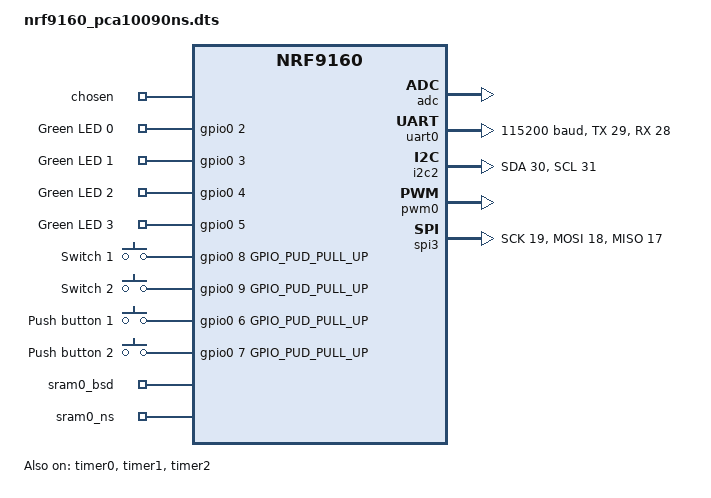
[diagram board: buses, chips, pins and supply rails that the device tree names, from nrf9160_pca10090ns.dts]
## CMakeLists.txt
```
#
# Copyright (c) 2018 Nordic Semiconductor
#
# SPDX-License-Identifier: LicenseRef-BSD-5-Clause-Nordic
#

cmake_minimum_required(VERSION 3.8.2)

include(../../cmake/boilerplate.cmake)

include($ENV{ZEPHYR_BASE}/cmake/app/boilerplate.cmake NO_POLICY_SCOPE)
project(NONE)

# NORDIC SDK APP START
target_sources(app PRIVATE
src/main.c
#src/SD.c
src/SdFat.c
)
# NORDIC SDK APP END
zephyr_include_directories(src)

#include_directories(src/orientation_detector)
target_sources(app PRIVATE src/SD.c)
```

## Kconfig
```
#
# Copyright (c) 2018 Nordic Semiconductor ASA
#
# SPDX-License-Identifier: LicenseRef-BSD-5-Clause-Nordic
#

menu "Application sample"

config CLOUD_BUTTON
	bool "Enable button sensor"
	default y

config CLOUD_BUTTON_INPUT
	int "Enable button sensor"
	range 1 4 if BOARD_NRF9160_PCA10090NS
	range 1 1 if BOARD_NRF9160_PCA20035NS
	default 1

config POWER_OPTIMIZATION_ENABLE
	bool "Enable power optimization"
	default y
	select LTE_EDRX_REQ

config USE_AT_HOST
	bool "Enable AT commands"
	default y
	select AT_HOST_LIBRARY
	help
		Enable the AT host library so that AT commands can be sent to and
		received from a serial terminal.

config GPS_SIM_TRIGGER_TIMER_MSEC
	int
	default 120000 if POWER_OPTIMIZATION_ENABLE
	default 2000

config MQTT_KEEPALIVE
	int
	default 1000 if POWER_OPTIMIZATION_ENABLE
	default 120
choice
	prompt "GPS device"
	default GPS_USE_SIM
	help
		Select from which device GPS data will be fetched.

config GPS_USE_SIM
	bool "Use GPS simulator"
	select GPS_SIM
	select GPS_SIM_TRIGGER
	help
		Use simulated GPS data.

config GPS_USE_EXTERNAL
	bool "User provided GPS device"
	help
		Provide a GPS device that location data will be fetched from and
		sent to nRF Cloud

endchoice

if GPS_USE_SIM

config GPS_DEV_NAME
	string
	default GPS_SIM_DEV_NAME

config GPS_TRIGGER
	bool
	default GPS_SIM_TRIGGER

endif

if GPS_USE_EXTERNAL
config GPS_DEV_NAME
	string "GPS device name"
	help
		GPS device from which location data will be fetched and sent
		to nRF Cloud.

endif

choice
	prompt "Accelerometer device"
	default ACCEL_USE_SIM
	help
		Select which device will provide accelerometer data.

config ACCEL_USE_SIM
	bool "Use simulated accelerometer data"
	select SENSOR
	select SENSOR_SIM
	select SENSOR_SIM_TRIGGER
	select SENSOR_SIM_STATIC_VALUES
	help
		Use sensor simulator to generate accelerometer data for
		flip detection data sent to nRF Cloud.

config ACCEL_USE_EXTERNAL
	bool "User provided accelerometer device"
	help
		The user will provide an accelerometer device that will
		be used for flip detection.

endchoice

if ACCEL_USE_SIM
config ACCEL_DEV_NAME
	string
	default SENSOR_SIM_DEV_NAME

config ACCEL_TRIGGER
	bool
	default SENSOR_SIM_TRIGGER

config FLIP_INPUT
	int "Button or switch number to simulate flip"
	range 1 4 if BOARD_NRF9160_PCA10090NS
	range 1 1 if BOARD_NRF9160_PCA20035NS
	default 3 if BOARD_NRF9160_PCA10090NS
	default 1 if BOARD_NRF9160_PCA20035NS
	help
		Button or switch number to use for simulating
		a board flip event.
		1 - Button 1
		2 - Button 2
		3 - Switch 1
		4 - Switch 2
endif

config FLIP_POLL
	bool "Use polling to detect flip"
	default y if ACCEL_USE_EXTERNAL
	help
		Poll the defined accelerometer device at interval determined by
		FLIP_POLL_INTERVAL. Data will be sent to nRF Cloud if a flip
		has happened and the orientation thus has changed.

if FLIP_POLL
config FLIP_POLL_INTERVAL
	int "Flip detection poll interval"
	default 1000
	help
		Flip polling interval in milliseconds.
endif

if ACCEL_USE_EXTERNAL

config ACCEL_DEV_NAME
	string "Accelerometer device name"
	help
		Device from which accelerometer data will be fetched and used
		for orientation detection and sent to nRF Cloud.

endif

config ACCEL_INVERTED
	bool "Accelerometer inverted"
	default y if BOARD_NRF9160_PCA20035NS
	help
		Enable if the accelerometer is mounted with the top side facing
		down when the board itself is in normal position.

config ACCEL_CALIBRATE
	bool "Calibrate accelerometer"
	default y if BOARD_NRF9160_PCA20035_V0_2_2NS
	help
		Calibrate the accelerometer on a flat surface to filter away
		static measurement offset that could affect orientation
		detection.

if ACCEL_CALIBRATE
config ACCEL_CALIBRATION_ITERATIONS
	int "Number of readings for calibration"
	default 20 if BOARD_NRF9160_PCA20035NS
	help
		Number of measurement readings to average over to find the
		static offset in the readings when calibrating the
		accelerometer.

config CALIBRATION_INPUT
	int "Button to trigger accelerometer calibration"
	range 1 2 if BOARD_NRF9160_PCA10090NS
	range 1 1 if BOARD_NRF9160_PCA20035NS
	default 1 if BOARD_NRF9160_PCA10090NS
	default 1 if BOARD_NRF9160_PCA20035NS
	help
		Button number to use to trigger accelerometer calibration:
		1 - Button 1
		2 - Button 2
endif

if !ACCEL_CALIBRATE
config ACCEL_CALIBRATION_ITERATIONS
	int
	default 0
endif

config ACCEL_ITERATIONS
	int "Number of readings per measurement"
	default 20 if BOARD_NRF9160_PCA20035NS
	default 1
	help
		Number of measurement readings to average over for each time
		the orientation detector determines the orientation of the
		board. Used for simple filtering of noisy measurements.

choice
	prompt "nRF Cloud user association"
	default CLOUD_UA_BUTTONS
	help
		Select which method to use for nRF Cloud user association
		input.

config CLOUD_UA_BUTTONS
	bool "Use buttons and switches"
	help
		Use buttons and switches on the development kit to provide
		user association input.

config CLOUD_UA_CONSOLE
	bool "Use console input"
	help
		Use console to enter nRF Cloud user association input.
		Allowed input is as follows:
		'b1' = Button 1
		'b2' = Button 2
		's1' = Switch 1
		's2' = Switch 2

endchoice


choice
	prompt "Temperature measurement device"
	default TEMP_USE_SIM
	help
		Select which device will provide temperature data.

config TEMP_USE_SIM
	bool "Use simulated temperature data"
	select SENSOR
	select SENSOR_SIM
	help
		Use sensor simulator to generate temperature data to send to
		nRF Cloud.

config TEMP_USE_EXTERNAL
	bool "User provided temperature device"
	help
		The user provides a temperature device that is
		used for temperature measurement.

endchoice

if TEMP_USE_SIM
config TEMP_DEV_NAME
	string
	default SENSOR_SIM_DEV_NAME

config TEMP_TRIGGER
	bool
	default SENSOR_SIM_TRIGGER

config TEMP_SIM_BUTTON
	int "Button or switch to trigger 'data ready' event"
	range 1 4 if BOARD_NRF9160_PCA10090NS
	range 1 1 if BOARD_NRF9160_PCA20035NS
	default 3 if BOARD_NRF9160_PCA10090NS
	default 1 if BOARD_NRF9160_PCA20035NS
	help
		Button or switch number to use for triggering
		a 'data ready' event.
		1 - Button 1
		2 - Button 2
		3 - Switch 1
		4 - Switch 2
endif

if TEMP_USE_EXTERNAL

config TEMP_DEV_NAME
	string "Temperature device name"
	help
		Device from which temperature data will be fetched and
		sent to nRF Cloud.

endif

if MODEM_INFO

config HOLD_TIME_RSRP
	int "Minimum time [s] between RSRP subscription messages"
	default 60
	help
		The minimum time in seconds where the modem
		informer is allowed to submit RSRP data to the cloud.

endif

endmenu

menu "Zephyr Kernel"
source "$ZEPHYR_BASE/Kconfig.zephyr"
endmenu
```

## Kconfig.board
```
# Kconfig - nRF9160 PCA10090 board configuration
#
# Copyright (c) 2018 Nordic Semiconductor ASA
#
# SPDX-License-Identifier: Apache-2.0

if SOC_NRF9160_SICA

config BOARD_NRF9160_PCA10090
	bool "nRF9160 PCA10090"
	depends on !TRUSTED_EXECUTION_NONSECURE

config BOARD_NRF9160_PCA10090NS
	bool "nRF9160 PCA10090 non-secure"
	depends on TRUSTED_EXECUTION_NONSECURE

endif # SOC_NRF9160_SICA
```

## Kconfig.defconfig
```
# Kconfig - nRF91 PCA10090 board configuration
#
# Copyright (c) 2018 Nordic Semiconductor ASA
#
# SPDX-License-Identifier: Apache-2.0

if BOARD_NRF9160_PCA10090 || BOARD_NRF9160_PCA10090NS

config BOARD
	default "nrf9160_pca10090"

if ADC

config ADC_0
	default y

endif # ADC

if I2C

config I2C_2
	default y

endif # I2C

if PWM

config PWM_0
	default y

endif # PWM

if SPI

config SPI_3
	default y

endif # SPI

config GPIO
    bool
    default y
    depends on SPI && SOC_FAMILY_NRF
	
# For the secure version of the board the firmware is linked at the beginning
# of the flash, or into the code-partition defined in DT if it is intended to
# be loaded by MCUboot. If the secure firmware is to be combined with a non-
# secure image (TRUSTED_EXECUTION_SECURE=y), the secure FW image shall always
# be restricted to the size of its code partition.
# For the non-secure version of the board, the firmware
# must be linked into the code-partition (non-secure) defined in DT, regardless.
# Apply this configuration below by setting the Kconfig symbols used by
# the linker according to the information extracted from DT partitions.

if BOARD_NRF9160_PCA10090 && TRUSTED_EXECUTION_SECURE

config FLASH_LOAD_SIZE
	default $(dt_hex_val,DT_CODE_PARTITION_SIZE)

endif # BOARD_NRF9160_PCA10090 && TRUSTED_EXECUTION_SECURE

if BOARD_NRF9160_PCA10090NS

config FLASH_LOAD_OFFSET
	default $(dt_hex_val,DT_CODE_PARTITION_OFFSET)

config FLASH_LOAD_SIZE
	default $(dt_hex_val,DT_CODE_PARTITION_SIZE)

endif # BOARD_NRF9160_PCA10090NS

endif # BOARD_NRF9160_PCA10090 || BOARD_NRF9160_PCA10090NS
```

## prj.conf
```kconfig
# General config
CONFIG_NEWLIB_LIBC=y
CONFIG_TEST_RANDOM_GENERATOR=y
CONFIG_ASSERT=y
CONFIG_REBOOT=y

# Network
CONFIG_NETWORKING=y
CONFIG_NET_SOCKETS=y
CONFIG_NET_SOCKETS_OFFLOAD=y

# MQTT
CONFIG_MQTT_SOCKET_LIB=y
CONFIG_MQTT_LIB_TLS=y
CONFIG_MQTT_MAX_PACKET_LENGTH=2048

# LTE link control
CONFIG_POWER_OPTIMIZATION_ENABLE=n
CONFIG_LTE_LINK_CONTROL=y
CONFIG_LTE_AUTO_INIT_AND_CONNECT=n

# Modem info
CONFIG_MODEM_INFO=y

# BSD library
CONFIG_BSD_LIBRARY=y

# nRF Cloud
CONFIG_NRF_CLOUD=y

# Sensors
CONFIG_GPS_USE_SIM=y
CONFIG_ACCEL_USE_SIM=y

# Library for buttons and LEDs
CONFIG_DK_LIBRARY=y
CONFIG_DK_LIBRARY_INVERT_LEDS=n

# Console
CONFIG_CONSOLE_SUBSYS=y
CONFIG_CONSOLE_HANDLER=y
CONFIG_CONSOLE_GETCHAR=y

# Main thread
CONFIG_MAIN_THREAD_PRIORITY=7

# Heap and stacks
CONFIG_HEAP_MEM_POOL_SIZE=16384
CONFIG_MAIN_STACK_SIZE=8192
CONFIG_GPS_SIM_THREAD_STACK_SIZE=1024
CONFIG_SYSTEM_WORKQUEUE_STACK_SIZE=1500
CONFIG_HW_STACK_PROTECTION=y

CONFIG_SERIAL=y
CONFIG_TRUSTED_EXECUTION_NONSECURE=y
CONFIG_UART_INTERRUPT_DRIVEN=y
CONFIG_UART_0_NRF_UARTE=y

# LTE link control
CONFIG_LTE_LINK_CONTROL=n
CONFIG_LTE_AUTO_INIT_AND_CONNECT=n

# BSD library
CONFIG_BSD_LIBRARY=y
CONFIG_BSD_LIBRARY_TRACE_ENABLED=n

# network
CONFIG_TEST_RANDOM_GENERATOR=y
CONFIG_NETWORKING=y
CONFIG_NET_BUF_USER_DATA_SIZE=1
CONFIG_NET_SOCKETS_OFFLOAD=y
CONFIG_NET_SOCKETS=y
CONFIG_NET_SOCKETS_POSIX_NAMES=y
CONFIG_NET_RAW_MODE=y
CONFIG_HEAP_MEM_POOL_SIZE=1024

# SPI
CONFIG_SPI=y
CONFIG_SPI_3=y
CONFIG_SPI_3_NRF_SPIM=y
CONFIG_SPI_3=y 
CONFIG_SPI_NRFX=y
CONFIG_MAIN_STACK_SIZE=4096

#GPIO
CONFIG_GPIO=y 
```

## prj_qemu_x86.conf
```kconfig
CONFIG_POWER_OPTIMIZATION_ENABLE=n
CONFIG_CLOUD_UA_CONSOLE=y
CONFIG_ASSERT=y
CONFIG_REBOOT=y
CONFIG_DEBUG=y
CONFIG_TEST_RANDOM_GENERATOR=y
CONFIG_NEWLIB_LIBC=y
CONFIG_FLOAT=y

CONFIG_USE_AT_HOST=n

# nRF Cloud
CONFIG_NRF_CLOUD=y
CONFIG_NRF_CLOUD_PROVISION_CERTIFICATES=y
CONFIG_NRF_CLOUD_CERTIFICATES_FILE="certificates.h"
CONFIG_NRF_CLOUD_SEC_TAG=1

# Sensors
CONFIG_CLOUD_BUTTON_INPUT=1
CONFIG_FLIP_INPUT=1
CONFIG_TEMP_SIM_BUTTON=1
CONFIG_GPS_USE_SIM=y
CONFIG_ACCEL_USE_SIM=y

# Console
CONFIG_CONSOLE_SUBSYS=y
CONFIG_CONSOLE_HANDLER=y
CONFIG_CONSOLE_GETCHAR=y

CONFIG_MQTT_SOCKET_LIB=y
CONFIG_MQTT_MAX_PACKET_LENGTH=2048
CONFIG_MQTT_LIB_TLS=y
CONFIG_NET_SOCKETS_SOCKOPT_TLS=y

# TLS configuration
CONFIG_MBEDTLS=y
CONFIG_MBEDTLS_BUILTIN=y
CONFIG_MBEDTLS_ENABLE_HEAP=y
CONFIG_MBEDTLS_HEAP_SIZE=120000
CONFIG_MBEDTLS_SSL_MAX_CONTENT_LEN=16384
CONFIG_MBEDTLS_PEM_CERTIFICATE_FORMAT=y
CONFIG_MBEDTLS_KEY_EXCHANGE_RSA_ENABLED=y
CONFIG_MBEDTLS_MAC_SHA256_ENABLED=y

CONFIG_NET_SOCKETS_SOCKOPT_TLS=y

# Networking config
CONFIG_NETWORKING=y
CONFIG_NET_IPV4=y
CONFIG_NET_TCP=y
CONFIG_NET_SOCKETS=y
CONFIG_NET_SOCKETS_POSIX_NAMES=y

CONFIG_DNS_RESOLVER=y
CONFIG_DNS_SERVER_IP_ADDRESSES=y
CONFIG_DNS_SERVER1="8.8.8.8"

# Network address config
CONFIG_NET_CONFIG_SETTINGS=y
CONFIG_NET_CONFIG_NEED_IPV4=y
CONFIG_NET_CONFIG_MY_IPV4_ADDR="192.0.2.1"
CONFIG_NET_CONFIG_PEER_IPV4_ADDR="192.0.2.2"
CONFIG_NET_CONFIG_MY_IPV4_GW="192.0.2.2"

# Heap and stacks
CONFIG_HEAP_MEM_POOL_SIZE=16384
CONFIG_MAIN_STACK_SIZE=16384
CONFIG_GPS_SIM_THREAD_STACK_SIZE=4096
```

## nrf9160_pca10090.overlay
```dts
&spi3 {
	status = "ok";
	sck-pin = <10>;
	mosi-pin = <11>;
	miso-pin = <12>;
	ss-pin = <13>;
	spi-max-frequency = <4000000>;
};
```

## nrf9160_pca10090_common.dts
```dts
/*
 * Copyright (c) 2018 Nordic Semiconductor ASA
 *
 * SPDX-License-Identifier: Apache-2.0
 */

/ {
	model = "Nordic PCA10090 Dev Kit";
	compatible = "nordic,pca10090-dk", "nordic,nrf9160-sica",
		     "nordic,nrf9160";

	chosen {
		zephyr,console = &uart0;
		zephyr,shell-uart = &uart0;
		zephyr,uart-mcumgr = &uart0;
	};

	leds {
		compatible = "gpio-leds";
		led0: led_0 {
			gpios = <&gpio0 2 GPIO_INT_ACTIVE_HIGH>;
			label = "Green LED 0";
		};
		led1: led_1 {
			gpios = <&gpio0 3 GPIO_INT_ACTIVE_HIGH>;
			label = "Green LED 1";
		};
		led2: led_2 {
			gpios = <&gpio0 4 GPIO_INT_ACTIVE_HIGH>;
			label = "Green LED 2";
		};
		led3: led_3 {
			gpios = <&gpio0 5 GPIO_INT_ACTIVE_HIGH>;
			label = "Green LED 3";
		};
	};

	buttons {
		compatible = "gpio-keys";
		button0: button_0 {
			gpios = <&gpio0 8 GPIO_PUD_PULL_UP>;
			label = "Switch 1";
		};
		button1: button_1 {
			gpios = <&gpio0 9 GPIO_PUD_PULL_UP>;
			label = "Switch 2";
		};
		button2: button_2 {
			gpios = <&gpio0 6 GPIO_PUD_PULL_UP>;
			label = "Push button 1";
		};
		button3: button_3 {
			gpios = <&gpio0 7 GPIO_PUD_PULL_UP>;
			label = "Push button 2";
		};
	};

	/* These aliases are provided for compatibility with samples */
	aliases {
		led0 = &led0;
		led1 = &led1;
		led2 = &led2;
		led3 = &led3;
		sw0 = &button2;
		sw1 = &button3;
		sw2 = &button0;
		sw3 = &button1;
	};
};

&adc {
	status ="ok";
};

&gpiote {
	status = "ok";
};

&gpio0 {
	status = "ok";
};

&uart0 {
	status = "ok";
	current-speed = <115200>;
	tx-pin = <29>;
	rx-pin = <28>;
	rts-pin = <27>;
	cts-pin = <26>;
};
/*
&uart1 {
	status = "ok";
	current-speed = <115200>;
	tx-pin = <1>;
	rx-pin = <0>;
	rts-pin = <14>;
	cts-pin = <15>;
};
*/
&i2c2 {
	status = "ok";
	sda-pin = <30>;
	scl-pin = <31>;
};

&pwm0 {
	status = "ok";
	ch0-pin = <2>;
};

&spi3 {
	status = "ok";
	sck-pin = <19>;
	mosi-pin = <18>;
	miso-pin = <17>;
};

&timer0 {
	status = "ok";
};

&timer1 {
	status = "ok";
};

&timer2 {
	status = "ok";
};

&flash0 {
	/*
	 * For more information, see:
	 * http://docs.zephyrproject.org/latest/guides/dts/index.html#flash-partitions
	 */
	partitions {
		compatible = "fixed-partitions";
		#address-cells = <1>;
		#size-cells = <1>;

		boot_partition: partition@0 {
			label = "mcuboot";
			reg = <0x00000000 0x10000>;
		};
		slot0_partition: partition@10000 {
			label = "image-0";
		};
		slot0_ns_partition: partition@40000 {
			label = "image-0-nonsecure";
		};
		slot1_partition: partition@80000 {
			label = "image-1";
		};
		slot1_ns_partition: partition@b0000 {
			label = "image-1-nonsecure";
		};
		scratch_partition: partition@f0000 {
			label = "image-scratch";
			reg = <0x000f0000 0xa000>;
		};
		storage_partition: partition@fa000 {
			label = "storage";
			reg = <0x000fa000 0x00006000>;
		};
	};
};

/ {
	/* SRAM allocated and used by the BSD library */
	sram0_bsd: memory@20010000 {
		device_type = "memory";
		compatible = "mmio-sram";
	};

	/* SRAM allocated to the Non-Secure image */
	sram0_ns: memory@20020000 {
		device_type = "memory";
		compatible = "mmio-sram";
	};
};

/* Include partition configuration file */
#include "nrf9160_pca10090_partition_conf.dts"
```

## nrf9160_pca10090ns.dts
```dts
/*
 * Copyright (c) 2018 Nordic Semiconductor ASA
 *
 * SPDX-License-Identifier: Apache-2.0
 */

/dts-v1/;
#include <nordic/nrf9160ns_sica.dtsi>
#include "nrf9160_pca10090_common.dts"

/ {
	chosen {
		zephyr,flash = &flash0;
		zephyr,sram = &sram0_ns;
		zephyr,code-partition = &slot0_ns_partition;
	};
};
	leds {
		compatible = "gpio-leds";
		led0: led_0 {
			gpios = <&gpio0 2 GPIO_INT_ACTIVE_HIGH>;
			label = "Green LED 0";
		};
		led1: led_1 {
			gpios = <&gpio0 3 GPIO_INT_ACTIVE_HIGH>;
			label = "Green LED 1";
		};
		led2: led_2 {
			gpios = <&gpio0 4 GPIO_INT_ACTIVE_HIGH>;
			label = "Green LED 2";
		};
		led3: led_3 {
			gpios = <&gpio0 5 GPIO_INT_ACTIVE_HIGH>;
			label = "Green LED 3";
		};
	};

	buttons {
		compatible = "gpio-keys";
		button0: button_0 {
			gpios = <&gpio0 8 GPIO_PUD_PULL_UP>;
			label = "Switch 1";
		};
		button1: button_1 {
			gpios = <&gpio0 9 GPIO_PUD_PULL_UP>;
			label = "Switch 2";
		};
		button2: button_2 {
			gpios = <&gpio0 6 GPIO_PUD_PULL_UP>;
			label = "Push button 1";
		};
		button3: button_3 {
			gpios = <&gpio0 7 GPIO_PUD_PULL_UP>;
			label = "Push button 2";
		};
	};

	/* These aliases are provided for compatibility with samples */
	aliases {
		led0 = &led0;
		led1 = &led1;
		led2 = &led2;
		led3 = &led3;
		sw0 = &button2;
		sw1 = &button3;
		sw2 = &button0;
		sw3 = &button1;
	};
};

&adc {
	status ="ok";
};

&gpiote {
	status = "ok";
};

&gpio0 {
	status = "ok";
};

&uart0 {
	status = "ok";
	current-speed = <115200>;
	tx-pin = <29>;
	rx-pin = <28>;
	rts-pin = <27>;
	cts-pin = <26>;
};
/*
&uart1 {
	status = "ok";
	current-speed = <115200>;
	tx-pin = <1>;
	rx-pin = <0>;
	rts-pin = <14>;
	cts-pin = <15>;
};
*/
&i2c2 {
	status = "ok";
	sda-pin = <30>;
	scl-pin = <31>;
};

&pwm0 {
	status = "ok";
	ch0-pin = <2>;
};

&spi3 {
	status = "ok";
	sck-pin = <19>;
	mosi-pin = <18>;
	miso-pin = <17>;
};

&timer0 {
	status = "ok";
};

&timer1 {
	status = "ok";
};

&timer2 {
	status = "ok";
};

&flash0 {
	/*
	 * For more information, see:
	 * http://docs.zephyrproject.org/latest/guides/dts/index.html#flash-partitions
	 */
	partitions {
		compatible = "fixed-partitions";
		#address-cells = <1>;
		#size-cells = <1>;

		boot_partition: partition@0 {
			label = "mcuboot";
			reg = <0x00000000 0x10000>;
		};
		slot0_partition: partition@10000 {
			label = "image-0";
		};
		slot0_ns_partition: partition@40000 {
			label = "image-0-nonsecure";
		};
		slot1_partition: partition@80000 {
			label = "image-1";
		};
		slot1_ns_partition: partition@b0000 {
			label = "image-1-nonsecure";
		};
		scratch_partition: partition@f0000 {
			label = "image-scratch";
			reg = <0x000f0000 0xa000>;
		};
		storage_partition: partition@fa000 {
			label = "storage";
			reg = <0x000fa000 0x00006000>;
		};
	};
};

/ {
	/* SRAM allocated and used by the BSD library */
	sram0_bsd: memory@20010000 {
		device_type = "memory";
		compatible = "mmio-sram";
	};

	/* SRAM allocated to the Non-Secure image */
	sram0_ns: memory@20020000 {
		device_type = "memory";
		compatible = "mmio-sram";
	};
};
```

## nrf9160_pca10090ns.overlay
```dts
&gpiote {
	status = "ok";
};

&gpio0 {
	status = "ok";
};


&spi3 {
	status = "ok";
	sck-pin = <10>;
	mosi-pin = <11>;
	miso-pin = <12>;
	ss-pin = <13>;
	spi-max-frequency = <4000000>;
};
```

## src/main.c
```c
/*
 * Copyright (c) 2018 Nordic Semiconductor ASA
 *
 * SPDX-License-identifier: LicenseRef-BSD-5-Clause-Nordic
 */
#include <zephyr.h>
#include <stdio.h>
#include <string.h>
#include <console.h>
#include <misc/reboot.h>
#include <device.h>
#include <spi.h>
#include <gpio.h>
#include <SD.h>
#include <SDAPI.h>

struct device * gpio_dev;
struct device * spi_dev;
#define PIN1 2
#define PIN2 3
#define PIN4 18
#define PIN5 19

static void gpio_init(void)
{
  const char* const gpioName = "GPIO_0";
  gpio_dev = device_get_binding(gpioName);
  
  if (gpio_dev == NULL) {
    printk("Could not get %s device\n", gpioName);
    return;
  }
  printk("Successfully initialised %s device\n", gpioName);
 
  if(gpio_pin_configure(gpio_dev, CS_PIN, GPIO_DIR_OUT) < 0)
    printk("Could not configure PIN P0.%02d\n", CS_PIN);
}
static void spi_init(void)
{
  const char* const spiName = "SPI_3";
  spi_dev = device_get_binding(spiName);  

  if (spi_dev == NULL) {
    printk("Could not get %s device\n", spiName);
    return;
  }
  printk("Successfully initialised %s device\n", spiName);
}
void main(void)
{
  printk("Application started\n");
  gpio_init();
  spi_init();

  //Initialize SD card.
  init(0);
  printf("Card type : ");
  
  switch (get_type()) {
    case SD_CARD_TYPE_SD1:
      printf("SD1\n");
      break;
    case SD_CARD_TYPE_SD2:
      printf("SD2\n ");
      break;
    case SD_CARD_TYPE_SDHC:
      printf("SDHC\n");
      break;
    default:
      printf("Unknown\n");
      break;
  }
  if (!volume_init(1)) {
    //printf("\n");
  }
  else if (!volume_init(0)) {
    //printf("Successful operations : 0\n");
  }
  else {
    printf("Failed initializing the volume\n");
  }
  printf("Fat%d\n", fatType());
  u32_t volumesize;
  volumesize = blocksPerCluster();    // clusters are collections of blocks
  volumesize *= clusterCount();       // we'll have a lot of clusters
  volumesize /= 2;                           // SD card blocks are always 512 bytes (2 blocks are 1KB)
  printf("Volume size (Kb):  ");
  printf("%d\n", volumesize);
  printf("Volume size (Mb):  ");
  volumesize /= 1024;
  printf("%d\n", volumesize);
  printf("Volume size (Gb):  ");
  printf("%f\n", (float)volumesize / 1024.0);
  if(!openRoot()) {
    printf("Failed opening root\n");
  }
  ls(4 | 2, 0);
  //sdfile_close();
   
  if(sdfile_open("test.txt", 0x01)) {
    while ((fileSize() - curPosition()  > 0X7FFF) ? 0X7FFF : (fileSize() - curPosition())) {
      printf("%c", sdfile_read_byte());
    }
    printf("\n");
   }
   else {
  printf("Failed opening.\n");
   }
  sdfile_close();
  printf("Succesful Operations.\n");
  while (1) {
      //printf("%lld (Start : %lld)\n", k_uptime_get() - t0, t0);
      //k_sleesp(1000);
   }
 }
```

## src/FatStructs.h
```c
/* Arduino SdFat Library
   Copyright (C) 2009 by William Greiman

   This file is part of the Arduino SdFat Library

   This Library is free software: you can redistribute it and/or modify
   it under the terms of the GNU General Public License as published by
   the Free Software Foundation, either version 3 of the License, or
   (at your option) any later version.

   This Library is distributed in the hope that it will be useful,
   but WITHOUT ANY WARRANTY; without even the implied warranty of
   MERCHANTABILITY or FITNESS FOR A PARTICULAR PURPOSE.  See the
   GNU General Public License for more details.

   You should have received a copy of the GNU General Public License
   along with the Arduino SdFat Library.  If not, see
   <http://www.gnu.org/licenses/>.
*/
#ifndef FatStructs_h
#define FatStructs_h
/**
   \file
   FAT file structures
*/
/*
   mostly from Microsoft document fatgen103.doc
   http://www.microsoft.com/whdc/system/platform/firmware/fatgen.mspx
*/
//------------------------------------------------------------------------------
/** Value for byte 510 of boot block or MBR */
u8_t const BOOTSIG0 = 0X55;
/** Value for byte 511 of boot block or MBR */
u8_t const BOOTSIG1 = 0XAA;
//------------------------------------------------------------------------------
/**
   \struct partitionTable
   \brief MBR partition table entry

   A partition table entry for a MBR formatted storage device.
   The MBR partition table has four entries.
*/
struct partitionTable {
  /**
     Boot Indicator . Indicates whether the volume is the active
     partition.  Legal values include: 0X00. Do not use for booting.
     0X80 Active partition.
  */
  u8_t  boot;
  /**
      Head part of Cylinder-head-sector address of the first block in
      the partition. Legal values are 0-255. Only used in old PC BIOS.
  */
  u8_t  beginHead;
  /**
     Sector part of Cylinder-head-sector address of the first block in
     the partition. Legal values are 1-63. Only used in old PC BIOS.
  */
  unsigned beginSector : 6;
  /** High bits cylinder for first block in partition. */
  unsigned beginCylinderHigh : 2;
  /**
     Combine beginCylinderLow with beginCylinderHigh. Legal values
     are 0-1023.  Only used in old PC BIOS.
  */
  u8_t  beginCylinderLow;
  /**
     Partition type. See defines that begin with PART_TYPE_ for
     some Microsoft partition types.
  */
  u8_t  type;
  /**
     head part of cylinder-head-sector address of the last sector in the
     partition.  Legal values are 0-255. Only used in old PC BIOS.
  */
  u8_t  endHead;
  /**
     Sector part of cylinder-head-sector address of the last sector in
     the partition.  Legal values are 1-63. Only used in old PC BIOS.
  */
  unsigned endSector : 6;
  /** High bits of end cylinder */
  unsigned endCylinderHigh : 2;
  /**
     Combine endCylinderLow with endCylinderHigh. Legal values
     are 0-1023.  Only used in old PC BIOS.
  */
  u8_t  endCylinderLow;
  /** Logical block address of the first block in the partition. */
  u32_t firstSector;
  /** Length of the partition, in blocks. */
  u32_t totalSectors;
} __attribute__((packed));
/** Type name for partitionTable */
typedef struct partitionTable part_t;
//------------------------------------------------------------------------------
/**
   \struct masterBootRecord

   \brief Master Boot Record

   The first block of a storage device that is formatted with a MBR.
*/
struct masterBootRecord {
  /** Code Area for master boot program. */
  u8_t  codeArea[440];
  /** Optional WindowsNT disk signature. May contain more boot code. */
  u32_t diskSignature;
  /** Usually zero but may be more boot code. */
  u16_t usuallyZero;
  /** Partition tables. */
  part_t   part[4];
  /** First MBR signature byte. Must be 0X55 */
  u8_t  mbrSig0;
  /** Second MBR signature byte. Must be 0XAA */
  u8_t  mbrSig1;
} __attribute__((packed));
/** Type name for masterBootRecord */
typedef struct masterBootRecord mbr_t;
//------------------------------------------------------------------------------
/**
   \struct biosParmBlock

   \brief BIOS parameter block

    The BIOS parameter block describes the physical layout of a FAT volume.
*/
struct biosParmBlock {
  /**
     Count of bytes per sector. This value may take on only the
     following values: 512, 1024, 2048 or 4096
  */
  u16_t bytesPerSector;
  /**
     Number of sectors per allocation unit. This value must be a
     power of 2 that is greater than 0. The legal values are
     1, 2, 4, 8, 16, 32, 64, and 128.
  */
  u8_t  sectorsPerCluster;
  /**
     Number of sectors before the first FAT.
     This value must not be zero.
  */
  u16_t reservedSectorCount;
  /** The count of FAT data structures on the volume. This field should
      always contain the value 2 for any FAT volume of any type.
  */
  u8_t  fatCount;
  /**
    For FAT12 and FAT16 volumes, this field contains the count of
    32-byte directory entries in the root directory. For FAT32 volumes,
    this field must be set to 0. For FAT12 and FAT16 volumes, this
    value should always specify a count that when multiplied by 32
    results in a multiple of bytesPerSector.  FAT16 volumes should
    use the value 512.
  */
  u16_t rootDirEntryCount;
  /**
     This field is the old 16-bit total count of sectors on the volume.
     This count includes the count of all sectors in all four regions
     of the volume. This field can be 0; if it is 0, then totalSectors32
     must be non-zero.  For FAT32 volumes, this field must be 0. For
     FAT12 and FAT16 volumes, this field contains the sector count, and
     totalSectors32 is 0 if the total sector count fits
     (is less than 0x10000).
  */
  u16_t totalSectors16;
  /**
     This dates back to the old MS-DOS 1.x media determination and is
     no longer usually used for anything.  0xF8 is the standard value
     for fixed (non-removable) media. For removable media, 0xF0 is
     frequently used. Legal values are 0xF0 or 0xF8-0xFF.
  */
  u8_t  mediaType;
  /**
     Count of sectors occupied by one FAT on FAT12/FAT16 volumes.
     On FAT32 volumes this field must be 0, and sectorsPerFat32
     contains the FAT size count.
  */
  u16_t sectorsPerFat16;
  /** Sectors per track for interrupt 0x13. Not used otherwise. */
  u16_t sectorsPerTrtack;
  /** Number of heads for interrupt 0x13.  Not used otherwise. */
  u16_t headCount;
  /**
     Count of hidden sectors preceding the partition that contains this
     FAT volume. This field is generally only relevant for media
      visible on interrupt 0x13.
  */
  u32_t hidddenSectors;
  /**
     This field is the new 32-bit total count of sectors on the volume.
     This count includes the count of all sectors in all four regions
     of the volume.  This field can be 0; if it is 0, then
     totalSectors16 must be non-zero.
  */
  u32_t totalSectors32;
  /**
     Count of sectors occupied by one FAT on FAT32 volumes.
  */
  u32_t sectorsPerFat32;
  /**
     This field is only defined for FAT32 media and does not exist on
     FAT12 and FAT16 media.
     Bits 0-3 -- Zero-based number of active FAT.
                 Only valid if mirroring is disabled.
     Bits 4-6 -- Reserved.
     Bit 7	-- 0 means the FAT is mirrored at runtime into all FATs.
            -- 1 means only one FAT is active; it is the one referenced in bits 0-3.
     Bits 8-15 	-- Reserved.
  */
  u16_t fat32Flags;
  /**
     FAT32 version. High byte is major revision number.
     Low byte is minor revision number. Only 0.0 define.
  */
  u16_t fat32Version;
  /**
     Cluster number of the first cluster of the root directory for FAT32.
     This usually 2 but not required to be 2.
  */
  u32_t fat32RootCluster;
  /**
     Sector number of FSINFO structure in the reserved area of the
     FAT32 volume. Usually 1.
  */
  u16_t fat32FSInfo;
  /**
     If non-zero, indicates the sector number in the reserved area
     of the volume of a copy of the boot record. Usually 6.
     No value other than 6 is recommended.
  */
  u16_t fat32BackBootBlock;
  /**
     Reserved for future expansion. Code that formats FAT32 volumes
     should always set all of the bytes of this field to 0.
  */
  u8_t  fat32Reserved[12];
} __attribute__((packed));
/** Type name for biosParmBlock */
typedef struct biosParmBlock bpb_t;
//------------------------------------------------------------------------------
/**
   \struct fat32BootSector

   \brief Boot sector for a FAT16 or FAT32 volume.

*/
struct fat32BootSector {
  /** X86 jmp to boot program */
  u8_t  jmpToBootCode[3];
  /** informational only - don't depend on it */
  char     oemName[8];
  /** BIOS Parameter Block */
  bpb_t    bpb;
  /** for int0x13 use value 0X80 for hard drive */
  u8_t  driveNumber;
  /** used by Windows NT - should be zero for FAT */
  u8_t  reserved1;
  /** 0X29 if next three fields are valid */
  u8_t  bootSignature;
  /** usually generated by combining date and time */
  u32_t volumeSerialNumber;
  /** should match volume label in root dir */
  char     volumeLabel[11];
  /** informational only - don't depend on it */
  char     fileSystemType[8];
  /** X86 boot code */
  u8_t  bootCode[420];
  /** must be 0X55 */
  u8_t  bootSectorSig0;
  /** must be 0XAA */
  u8_t  bootSectorSig1;
} __attribute__((packed));
//------------------------------------------------------------------------------
// End Of Chain values for FAT entries
/** FAT16 end of chain value used by Microsoft. */
u16_t const FAT16EOC = 0XFFFF;
/** Minimum value for FAT16 EOC.  Use to test for EOC. */
u16_t const FAT16EOC_MIN = 0XFFF8;
/** FAT32 end of chain value used by Microsoft. */
u32_t const FAT32EOC = 0X0FFFFFFF;
/** Minimum value for FAT32 EOC.  Use to test for EOC. */
u32_t const FAT32EOC_MIN = 0X0FFFFFF8;
/** Mask a for FAT32 entry. Entries are 28 bits. */
u32_t const FAT32MASK = 0X0FFFFFFF;

/** Type name for fat32BootSector */
typedef struct fat32BootSector fbs_t;
//------------------------------------------------------------------------------
/**
   \struct directoryEntry
   \brief FAT short directory entry

   Short means short 8.3 name, not the entry size.

   Date Format. A FAT directory entry date stamp is a 16-bit field that is
   basically a date relative to the MS-DOS epoch of 01/01/1980. Here is the
   format (bit 0 is the LSB of the 16-bit word, bit 15 is the MSB of the
   16-bit word):

   Bits 9-15: Count of years from 1980, valid value range 0-127
   inclusive (1980-2107).

   Bits 5-8: Month of year, 1 = January, valid value range 1-12 inclusive.

   Bits 0-4: Day of month, valid value range 1-31 inclusive.

   Time Format. A FAT directory entry time stamp is a 16-bit field that has
   a granularity of 2 seconds. Here is the format (bit 0 is the LSB of the
   16-bit word, bit 15 is the MSB of the 16-bit word).

   Bits 11-15: Hours, valid value range 0-23 inclusive.

   Bits 5-10: Minutes, valid value range 0-59 inclusive.

   Bits 0-4: 2-second count, valid value range 0-29 inclusive (0 - 58 seconds).

   The valid time range is from Midnight 00:00:00 to 23:59:58.
*/
struct directoryEntry {
  /**
     Short 8.3 name.
     The first eight bytes contain the file name with blank fill.
     The last three bytes contain the file extension with blank fill.
  */
  u8_t  name[11];
  /** Entry attributes.

     The upper two bits of the attribute byte are reserved and should
     always be set to 0 when a file is created and never modified or
     looked at after that.  See defines that begin with DIR_ATT_.
  */
  u8_t  attributes;
  /**
     Reserved for use by Windows NT. Set value to 0 when a file is
     created and never modify or look at it after that.
  */
  u8_t  reservedNT;
  /**
     The granularity of the seconds part of creationTime is 2 seconds
     so this field is a count of tenths of a second and its valid
     value range is 0-199 inclusive. (WHG note - seems to be hundredths)
  */
  u8_t  creationTimeTenths;
  /** Time file was created. */
  u16_t creationTime;
  /** Date file was created. */
  u16_t creationDate;
  /**
     Last access date. Note that there is no last access time, only
     a date.  This is the date of last read or write. In the case of
     a write, this should be set to the same date as lastWriteDate.
  */
  u16_t lastAccessDate;
  /**
     High word of this entry's first cluster number (always 0 for a
     FAT12 or FAT16 volume).
  */
  u16_t firstClusterHigh;
  /** Time of last write. File creation is considered a write. */
  u16_t lastWriteTime;
  /** Date of last write. File creation is considered a write. */
  u16_t lastWriteDate;
  /** Low word of this entry's first cluster number. */
  u16_t firstClusterLow;
  /** 32-bit unsigned holding this file's size in bytes. */
  u32_t fileSize;
} __attribute__((packed));
//------------------------------------------------------------------------------
// Definitions for directory entries
//
/** Type name for directoryEntry */
typedef struct directoryEntry dir_t;
/** escape for name[0] = 0XE5 */
u8_t const DIR_NAME_0XE5 = 0X05;
/** name[0] value for entry that is free after being "deleted" */
u8_t const DIR_NAME_DELETED = 0XE5;
/** name[0] value for entry that is free and no allocated entries follow */
u8_t const DIR_NAME_FREE = 0X00;
/** file is read-only */
u8_t const DIR_ATT_READ_ONLY = 0X01;
/** File should hidden in directory listings */
u8_t const DIR_ATT_HIDDEN = 0X02;
/** Entry is for a system file */
u8_t const DIR_ATT_SYSTEM = 0X04;
/** Directory entry contains the volume label */
u8_t const DIR_ATT_VOLUME_ID = 0X08;
/** Entry is for a directory */
u8_t const DIR_ATT_DIRECTORY = 0X10;
/** Old DOS archive bit for backup support */
u8_t const DIR_ATT_ARCHIVE = 0X20;
/** Test value for long name entry.  Test is
  (d->attributes & DIR_ATT_LONG_NAME_MASK) == DIR_ATT_LONG_NAME. */
u8_t const DIR_ATT_LONG_NAME = 0X0F;
/** Test mask for long name entry */
u8_t const DIR_ATT_LONG_NAME_MASK = 0X3F;
/** defined attribute bits */
u8_t const DIR_ATT_DEFINED_BITS = 0X3F;
/** Directory entry is part of a long name */
static inline u8_t DIR_IS_LONG_NAME(const dir_t* dir) {
  return (dir->attributes & DIR_ATT_LONG_NAME_MASK) == DIR_ATT_LONG_NAME;
}
/** Mask for file/subdirectory tests */
#define DIR_ATT_FILE_TYPE_MASK (DIR_ATT_VOLUME_ID | DIR_ATT_DIRECTORY)
/** Directory entry is for a file */
static inline u8_t DIR_IS_FILE(const dir_t* dir) {
  return (dir->attributes & DIR_ATT_FILE_TYPE_MASK) == 0;
}
/** Directory entry is for a subdirectory */
static inline u8_t DIR_IS_SUBDIR(const dir_t* dir) {
  return (dir->attributes & DIR_ATT_FILE_TYPE_MASK) == DIR_ATT_DIRECTORY;
}
/** Directory entry is for a file or subdirectory */
static inline u8_t DIR_IS_FILE_OR_SUBDIR(const dir_t* dir) {
  return (dir->attributes & DIR_ATT_VOLUME_ID) == 0;
}
#endif  // FatStructs_h
```

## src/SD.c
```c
#include <stdio.h>
#include <string.h>
#include <console.h>
#include <spi.h>
#include <SD.h>
#include <SdInfo.h>
#include <gpio.h>

#define SD_PROTECT_BLOCK_ZERO 1

u32_t block_ = 0;
u8_t chipSelectPin_ = 0;
u8_t errorCode_ = 0;
u8_t inBlock_ = 0;
u16_t offset_ = 0;
u8_t partialBlockRead_ = 0;
u8_t status_ = 0;
u8_t type_ = 0;

static const struct spi_cs_control cs = {
  .gpio_dev = NULL
};

static const struct spi_config spi_cfg = {
  .operation =  SPI_WORD_SET(8) | SPI_TRANSFER_MSB |
                SPI_MODE_CPOL | SPI_MODE_CPHA | SPI_CS_ACTIVE_HIGH,
  .frequency = 250000,
  .slave = 0,
  .cs = &cs
};


void set_type(u8_t value) {
      type_ = value;
}

u8_t get_type(void){
      return type_;
}
void set_error(u8_t code) {
      errorCode_ = code;
}


void spi_test_send(void)
{
	int err;
	static u8_t tx_buffer[1] = {0xAA};
	static u8_t rx_buffer[1];

	const struct spi_buf tx_buf = {
		.buf = tx_buffer,
		.len = sizeof(tx_buffer)
	};
	const struct spi_buf_set tx = {
		.buffers = &tx_buf,
		.count = 1
	};

	struct spi_buf rx_buf = {
		.buf = rx_buffer,
		.len = sizeof(rx_buffer),
	};  
	const struct spi_buf_set rx = {
		.buffers = &rx_buf,
		.count = 1
	};
	err = spi_transceive(spi_dev, &spi_cfg, &tx, &rx);

	if (err) {
		printk("SPI error: %d\n", err);
	} else {
                // Connect MISO to MOSI for loopback
		printk("TX sent: %x\n", tx_buffer[0]);
		printk("RX recv: %x\n", rx_buffer[0]);
		tx_buffer[0]++;
	}	
}


void spiSend(u8_t data)
{
	int err;
	static u8_t tx_buffer[1];
	
        tx_buffer[0] = data;

	const struct spi_buf tx_buf = {
		.buf = tx_buffer,
		.len = sizeof(tx_buffer)
	};
	const struct spi_buf_set tx = {
		.buffers = &tx_buf,
		.count = 1
	};

        //chipSelectLow();
	err = spi_transceive(spi_dev, &spi_cfg, &tx, NULL);
        //chipSelectHigh();
	
        if (err) {
		printk("SPI error: %d\n", err);
	} else {
		//printk("TX sent: %x\n", tx_buffer[0]);
	}	
}

u8_t spiRec()
{
	int err;
	static u8_t rx_buffer[1];
	
        struct spi_buf rx_buf = {
		.buf = rx_buffer,
		.len = sizeof(rx_buffer),
	};  
	const struct spi_buf_set rx = {
		.buffers = &rx_buf,
		.count = 1
	};
        //chipSelectHigh();
	err = spi_transceive(spi_dev, &spi_cfg, NULL, &rx);
        //chipSelectLow();
	
        if (err) {
		printk("SPI error: %d\n", err);
	} else {
		//printk("RX recv: %x\n", rx_buffer[0]);
	}	
        return rx_buffer[0];
}

void chipSelectLow() 
{
  gpio_pin_write(gpio_dev, CS_PIN, 0);
  chipSelectPin_ = false;
}

void chipSelectHigh() 
{
  gpio_pin_write(gpio_dev, CS_PIN, 1);
  chipSelectPin_ = true;
}

u8_t init(u8_t sckRateID) {
  errorCode_ = inBlock_ = partialBlockRead_ = type_ = 0;
  // 16-bit init start time allows over a minute

  u64_t t0 = k_uptime_get();
  u32_t arg;

  // set pin modes
  chipSelectHigh();
  
  // must supply min of 74 clock cycles with CS high.
  for (u8_t i = 0; i < 10; i++) {
    spiSend(0XFF);
  }

  chipSelectLow();
  printf("CMD0\n");
  // command to go idle in SPI mode
  while ((status_ = cardCommand(CMD0, 0)) != R1_IDLE_STATE) {
    u64_t d = k_uptime_get() - t0;
    if (d > SD_INIT_TIMEOUT) {
      set_error(SD_CARD_ERROR_CMD0);
      goto fail;
    }
  }
  // check SD version
  printf("CMD8\n");
  if ((cardCommand(CMD8, 0x1AA) & R1_ILLEGAL_COMMAND)) {
    type_ = (SD_CARD_TYPE_SD1);
  } else {
    // only need last byte of r7 response
    for (u8_t i = 0; i < 4; i++) {
      status_ = spiRec();
    }
    if (status_ != 0XAA) {
      set_error(SD_CARD_ERROR_CMD8);
      goto fail;
    }
    type_ = (SD_CARD_TYPE_SD2);
  }
  // initialize card and send host supports SDHC if SD2
  arg = (type_ == SD_CARD_TYPE_SD2 ? 0X40000000 : 0);
  printf("ACMD41\n");

  while ((status_ = cardAcmd(ACMD41, arg)) != R1_READY_STATE) {
    // check for timeout
    u64_t d = k_uptime_get() - t0;
    if (d > SD_INIT_TIMEOUT) {
      set_error(SD_CARD_ERROR_ACMD41);
      goto fail;
    }
  }
  // if SD2 read OCR register to check for SDHC card
  if (type_ == SD_CARD_TYPE_SD2) {
    if (cardCommand(CMD58, 0)) {
      set_error(SD_CARD_ERROR_CMD58);
      goto fail;
    }
    if ((spiRec() & 0XC0) == 0XC0) {
      type_ = (SD_CARD_TYPE_SDHC);
    }
    printf("Recv\n");
    // discard rest of ocr - contains allowed voltage range
    for (u8_t i = 0; i < 3; i++) {
      spiRec();
    }
  }
  chipSelectHigh();
  

//Note : In case of failure, maybe set to the full speed
  return true;

fail:
  printf("Error occured in retrieving card info.\n");
  chipSelectHigh();
  return false;
}


//------------------------------------------------------------------------------
// wait for card to go not busy
u8_t waitNotBusy(unsigned int timeoutMillis) {
  u64_t t0 = k_uptime_get();
  u64_t d;
  do {
    if (spiRec() == 0XFF) {
      return true;
    }
    d = k_uptime_get() - t0;
    printf("d / t0 : %lld / %lld \n", d ,t0);
  } while (d < timeoutMillis);
  return false;
}

//------------------------------------------------------------------------------
// send command and return error code.  Return zero for OK
u8_t cardCommand(u8_t cmd, u32_t arg) {
  // end read if in partialBlockRead mode
  readEnd();

  // select card
  chipSelectLow();

  // wait up to 300 ms if busy
  // send command
  spiSend(cmd | 0x40);

  // send argument
  for (int s = 24; s >= 0; s -= 8) {
    spiSend(arg >> s);
  }

  // send CRC
  u8_t crc = 0XFF;
  if (cmd == CMD0) {
    crc = 0X95;  // correct crc for CMD0 with arg 0
  }
  if (cmd == CMD8) {
    crc = 0X87;  // correct crc for CMD8 with arg 0X1AA
  }
  spiSend(crc);

  
  // wait for response
  for (u8_t i = 0; ((status_ = spiRec()) & 0X80) && i != 0XFF; i++);
  return status_;
}

u8_t cardAcmd(u8_t cmd, u32_t arg) {
  cardCommand(CMD55, 0);
  return cardCommand(cmd, arg);
}

























//------------------------------------------------------------------------------
/**
   Enable or disable partial block reads.

   Enabling partial block reads improves performance by allowing a block
   to be read over the SPI bus as several sub-blocks.  Errors may occur
   if the time between reads is too long since the SD card may timeout.
   The SPI SS line will be held low until the entire block is read or
   readEnd() is called.

   Use this for applications like the Adafruit Wave Shield.

   \param[in] value The value TRUE (non-zero) or FALSE (zero).)
*/
void partialBlockRead(u8_t value) {
  readEnd();
  partialBlockRead_ = value;
}
//------------------------------------------------------------------------------
/**
   Read a 512 byte block from an SD card device.

   \param[in] block Logical block to be read.
   \param[out] dst Pointer to the location that will receive the data.

   \return The value one, true, is returned for success and
   the value zero, false, is returned for failure.
*/
u8_t readBlock(u32_t block, u8_t* dst) {
  return readData(block, 0, 512, dst);
}
//------------------------------------------------------------------------------
/**
   Read part of a 512 byte block from an SD card.

   \param[in] block Logical block to be read.
   \param[in] offset Number of bytes to skip at start of block
   \param[out] dst Pointer to the location that will receive the data.
   \param[in] count Number of bytes to read
   \return The value one, true, is returned for success and
   the value zero, false, is returned for failure.
*/
u8_t readData(u32_t block, u16_t offset, u16_t count, u8_t* dst) {

  if (count == 0) {
    return true;
  }

  if ((count + offset) > 512) {
    goto fail;
  }

  if (!inBlock_ || block != block_ || offset < offset_) {
    block_ = block;
    // use address if not SDHC card
    if (type_ != SD_CARD_TYPE_SDHC) {
      block <<= 9;
    }
    if (cardCommand(CMD17, block)) {
      set_error(SD_CARD_ERROR_CMD17);
      goto fail;
    }
    if (!waitStartBlock()) {
      goto fail;
    }
    offset_ = 0;
    inBlock_ = 1;
  }

  // skip data before offset
  for (; offset_ < offset; offset_++) {
    spiRec();
  }
  // transfer data
  for (u16_t i = 0; i < count; i++) {
    dst[i] = spiRec();
  }

  offset_ += count;
  if (!partialBlockRead_ || offset_ >= 512) {
    // read rest of data, checksum and set chip select high
    readEnd();
  }
  return true;

fail:
  chipSelectHigh();
  return false;
}
//------------------------------------------------------------------------------
/** Skip remaining data in a block when in partial block read mode. */
void readEnd(void) {
  if (inBlock_) {
    // skip data and crc
    while (offset_++ < 514) {
      spiRec();
    }
    chipSelectHigh();
    inBlock_ = 0;
  }
}
//------------------------------------------------------------------------------
/** Wait for start block token */
u8_t waitStartBlock(void) {
  u64_t t0 = k_uptime_get();
  while ((status_ = spiRec()) == 0XFF) {
    u64_t d = k_uptime_get() - t0;
    if (d > SD_READ_TIMEOUT) {
      set_error(SD_CARD_ERROR_READ_TIMEOUT);
      goto fail;
    }
  }
  if (status_ != DATA_START_BLOCK) {
    set_error(SD_CARD_ERROR_READ);
    goto fail;
  }
  return true;

fail:
  chipSelectHigh();
  return false;
}



//------------------------------------------------------------------------------
/** Write one data block in a multiple block write sequence */
/*u8_t writeBlock(const u8_t* src) {
  // wait for previous write to finish
  if (!waitNotBusy(SD_WRITE_TIMEOUT)) {
    set_error(SD_CARD_ERROR_WRITE_MULTIPLE);
    chipSelectHigh();
    return false;
  }
  return writeData(WRITE_MULTIPLE_TOKEN, src);
}*/
//------------------------------------------------------------------------------
// send one block of data for write block or write multiple blocks
u8_t writeData(u8_t token, const u8_t* src) {

  spiSend(token);
  for (u16_t i = 0; i < 512; i++) {
    spiSend(src[i]);
  }
 
  spiSend(0xff);  // dummy crc
  spiSend(0xff);  // dummy crc

  status_ = spiRec();
  if ((status_ & DATA_RES_MASK) != DATA_RES_ACCEPTED) {
    set_error(SD_CARD_ERROR_WRITE);
    chipSelectHigh();
    return false;
  }
  return true;
}
//------------------------------------------------------------------------------
/** Start a write multiple blocks sequence.

   \param[in] blockNumber Address of first block in sequence.
   \param[in] eraseCount The number of blocks to be pre-erased.

   \note This function is used with writeData() and writeStop()
   for optimized multiple block writes.

   \return The value one, true, is returned for success and
   the value zero, false, is returned for failure.
*/
u8_t writeStart(u32_t blockNumber, u32_t eraseCount) {
  #if SD_PROTECT_BLOCK_ZERO
  // don't allow write to first block
  if (blockNumber == 0) {
    set_error(SD_CARD_ERROR_WRITE_BLOCK_ZERO);
    goto fail;
  }
  #endif  // SD_PROTECT_BLOCK_ZERO

  // send pre-erase count
  if (cardAcmd(ACMD23, eraseCount)) {
    set_error(SD_CARD_ERROR_ACMD23);
    goto fail;
  }
  // use address if not SDHC card
  if (type_ != SD_CARD_TYPE_SDHC) {
    blockNumber <<= 9;
  }
  if (cardCommand(CMD25, blockNumber)) {
    set_error(SD_CARD_ERROR_CMD25);
    goto fail;
  }
  return true;

fail:
  chipSelectHigh();
  return false;
}
//------------------------------------------------------------------------------
/** End a write multiple blocks sequence.

  \return The value one, true, is returned for success and
   the value zero, false, is returned for failure.
*/
u8_t writeStop(void) {
  if (!waitNotBusy(SD_WRITE_TIMEOUT)) {
    goto fail;
  }
  spiSend(STOP_TRAN_TOKEN);
  if (!waitNotBusy(SD_WRITE_TIMEOUT)) {
    goto fail;
  }
  chipSelectHigh();
  return true;

fail:
  set_error(SD_CARD_ERROR_STOP_TRAN);
  chipSelectHigh();
  return false;
}

u8_t writeBlock(u32_t blockNumber, const u8_t* src) {
  #if SD_PROTECT_BLOCK_ZERO
  // don't allow write to first block
  if (blockNumber == 0) {
    set_error(SD_CARD_ERROR_WRITE_BLOCK_ZERO);
    goto fail;
  }
  #endif  // SD_PROTECT_BLOCK_ZERO

  // use address if not SDHC card
  if (type_ != SD_CARD_TYPE_SDHC) {
    blockNumber <<= 9;
  }
  if (cardCommand(CMD24, blockNumber)) {
    set_error(SD_CARD_ERROR_CMD24);
    goto fail;
  }
  if (!writeData(DATA_START_BLOCK, src)) {
    goto fail;
  }

  // wait for flash programming to complete
  if (!waitNotBusy(SD_WRITE_TIMEOUT)) {
    set_error(SD_CARD_ERROR_WRITE_TIMEOUT);
    goto fail;
  }
  // response is r2 so get and check two bytes for nonzero
  if (cardCommand(CMD13, 0) || spiRec()) {
    set_error(SD_CARD_ERROR_WRITE_PROGRAMMING);
    goto fail;
  }
  chipSelectHigh();
  return true;

fail:
  chipSelectHigh();
  return false;
}
```

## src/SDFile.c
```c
//#include <zephyr.h>
//#include <stdio.h>
//#include <SdFat.h>
//#include <SDAPI.h>
```
